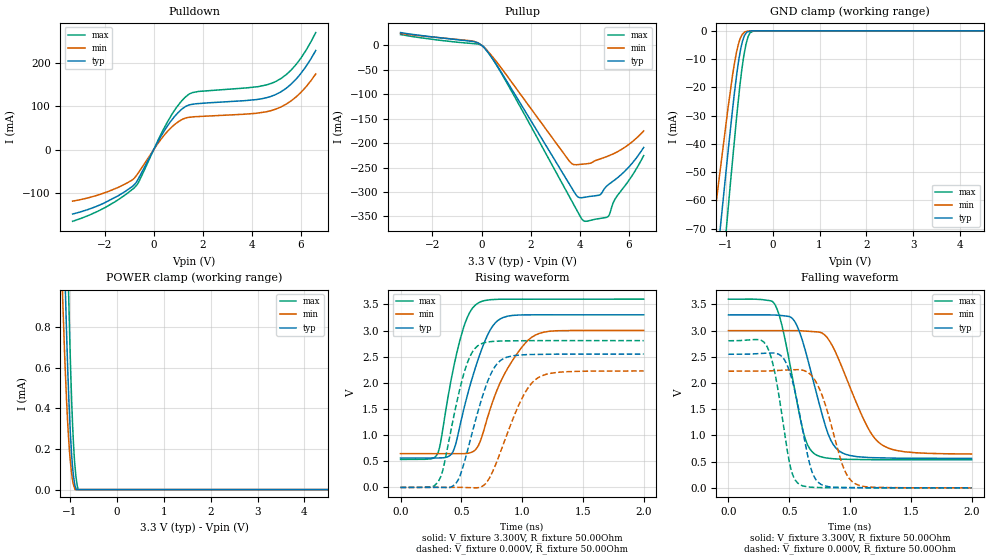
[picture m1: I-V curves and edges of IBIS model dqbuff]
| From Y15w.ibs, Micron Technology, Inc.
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|   dqbuff MODEL
[Model]   dqbuff
Model_type   I/O
Vinl = 800.000mV
Vinh = 2.000V
Vmeas = 1.500V
Cref = 50.000pF
|   typ   min   max
C_comp   3.940pF   3.730pF   4.160pF
[Voltage Range]   3.300V   3.000V   3.600V
[Temperature Range]   25.0   85.0   0.0
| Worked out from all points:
|   slope of the pulldown table from 0 to 0.495 V, typ, clamps not added: 10.1 ohm
|   slope of the pullup table from 0 to 0.495 V, typ, clamps not added: 15.8 ohm
|   GND clamp passes 1 mA (typ) near -0.57 V on its own axis
|   POWER clamp passes 1 mA (typ) near -1.10 V on its own axis
|   falling waveform, V_fixture 3.300V, R_fixture 50.00Ohm: 20-80 % time 192ps typ, 262ps min, 156ps max; typ from 3.3 V to 0.562 V
|   rising waveform, V_fixture 3.300V, R_fixture 50.00Ohm: 20-80 % time 204ps typ, 263ps min, 159ps max; typ from 0.562 V to 3.3 V
|   rising waveform, V_fixture 0.000V, R_fixture 50.00Ohm: 20-80 % time 191ps typ, 233ps min, 160ps max; typ from 0 V to 2.55 V
|   falling waveform, V_fixture 0.000V, R_fixture 50.00Ohm: 20-80 % time 136ps typ, 169ps min, 118ps max; typ from 2.55 V to 0 V
[Pulldown]
|   Voltage   I(typ)   I(min)   I(max)
-3.3V     -147.8mA   -118.2mA   -164.6mA
-2.05V    -123.5mA   -100.2mA   NA
-1.16V    -96mA      NA         NA
-710mV    -75.15mA   NA         NA
520mV     51.13mA    NA         NA
1V        85.63mA    NA         NA
1.37V     101.4mA    73.81mA    NA
1.71V     105.5mA    NA         NA
4.2V      115.3mA    NA         NA
4.94V     126.1mA    NA         NA
5.78V     161mA      NA         NA
6.6V      228mA      174.2mA    269.2mA
[GND Clamp]
|   Voltage   I(typ)   I(min)   I(max)
-3.3V     -1.16A     -1.059A    -1.278A
-1.43V    -122.6mA   NA         NA
-1.18V    -80.45mA   NA         NA
-940mV    -41.3mA    NA         NA
-810mV    -21.52mA   -11.22mA   NA
-760mV    -14.81mA   NA         -29.44mA
-680mV    -6.414mA   NA         NA
-640mV    -3.577mA   NA         NA
-600mV    -1.676mA   NA         NA
-550mV    -481.4uA   NA         NA
-460mV    0A         NA         NA
6.6V      0A         0A         0A
[Pullup]
|   Voltage   I(typ)   I(min)   I(max)
-3.3V     25.96mA    24.19mA    21.9mA
-340mV    7.682mA    NA         NA
120mV     -5.863mA   NA         -4.829mA
1V        -71.16mA   NA         NA
3.77V     -299.9mA   -244mA     NA
3.91V     -309.5mA   NA         NA
4.09V     -311.6mA   NA         -355.8mA
4.8V      -306.2mA   NA         NA
5.17V     -284.7mA   NA         NA
5.45V     -274.2mA   NA         NA
5.98V     -249.8mA   NA         NA
6.6V      -209mA     -175.1mA   -225.5mA
[POWER Clamp]
|   Voltage   I(typ)   I(min)   I(max)
-3.3V     38.12mA    32.39mA    42.87mA
-1.18V    1.813mA    NA         NA
-1.14V    1.397mA    NA         2.277mA
-1.1V     1.024mA    NA         1.771mA
-1.08V    855uA      NA         1.535mA
-1.04V    560.2uA    NA         NA
-1.02V    436.3uA    NA         NA
-960mV    164.1uA    NA         429.5uA
-920mV    62.24uA    NA         215.8uA
-890mV    18.67uA    0A         NA
-860mV    0A         NA         NA
6.6V      0A         0A         0A
[Ramp]
R_load = 50.00Ohm
|   typ   min   max
dV/dt_r   1.530V/190.575ps   1.337V/232.986ps   1.684V/160.303ps
dV/dt_f   1.643V/191.912ps   1.413V/261.676ps   1.839V/155.649ps
[Falling Waveform]
V_fixture = 3.300V
V_fixture_min = 3.000V
V_fixture_max = 3.600V
R_fixture = 50.00Ohm
|   Time   V(typ)   V(min)   V(max)
0s        3.301V     3.001V     3.601V
390ps     3.298V     NA         NA
440ps     3.288V     NA         NA
560ps     3.112V     NA         NA
650ps     2.471V     NA         NA
740ps     1.664V     NA         NA
880ps     770.3mV    NA         NA
1.16ns    577.1mV    NA         NA
1.41ns    564.9mV    NA         NA
2ns       562.4mV    645.8mV    535.5mV
[Rising Waveform]
V_fixture = 3.300V
V_fixture_min = 3.000V
V_fixture_max = 3.600V
R_fixture = 50.00Ohm
|   Time   V(typ)   V(min)   V(max)
0s        562.4mV    645.8mV    535.5mV
310ps     563.1mV    NA         NA
430ps     675.5mV    NA         NA
500ps     1.295V     NA         NA
560ps     1.851V     NA         NA
640ps     2.46V      NA         NA
800ps     3.191V     NA         NA
920ps     3.289V     NA         NA
1.1ns     3.301V     NA         NA
2ns       3.301V     3.001V     3.601V
[Rising Waveform]
V_fixture = 0.000V
V_fixture_min = 0.000V
V_fixture_max = 0.000V
R_fixture = 50.00Ohm
|   Time   V(typ)   V(min)   V(max)
0s        -330.5uV   -424.3uV   -280uV
300ps     2.21mV     NA         NA
480ps     170.6mV    NA         NA
540ps     608.2mV    NA         NA
640ps     1.477V     NA         NA
710ps     1.987V     NA         NA
800ps     2.38V      NA         NA
1.05ns    2.541V     NA         NA
1.3ns     2.549V     NA         NA
2ns       2.55V      2.227V     2.807V
[Falling Waveform]
V_fixture = 0.000V
V_fixture_min = 0.000V
V_fixture_max = 0.000V
R_fixture = 50.00Ohm
|   Time   V(typ)   V(min)   V(max)
0s        2.55V      2.227V     2.807V
330ps     2.573V     NA         NA
460ps     2.448V     NA         NA
520ps     2.093V     NA         NA
580ps     1.474V     NA         NA
670ps     440mV      NA         NA
740ps     101.8mV    NA         NA
920ps     6.232mV    NA         NA
1.18ns    539.9uV    NA         NA
2ns       -330.5uV   -424.3uV   -280uV
